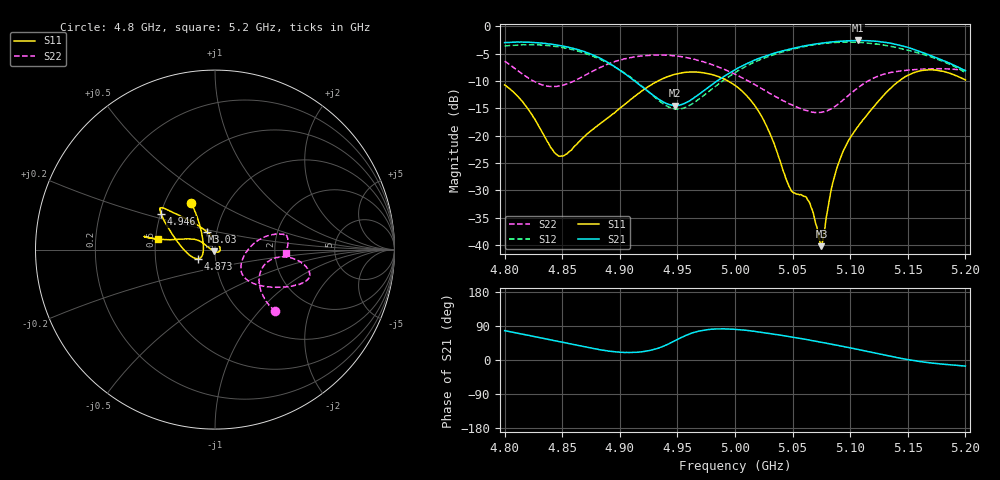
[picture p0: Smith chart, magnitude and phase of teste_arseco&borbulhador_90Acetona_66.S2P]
! Network Analyzer HP8722D
! Hewlett-Packard
! Data name: Linha & Wilkinson
! Saver's name: Rodrigo Anjos
! Comments: Teste da utilização de aquisição
! continua pelo VNA HP8722D
! Time and date: 17/4/2025 11:36
!  Frequency  S11  S21  S12  S22
# HZ  S  MA R 50
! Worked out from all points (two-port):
!   401 points, 4.8 GHz to 5.2 GHz, reference 50 ohm
!   highest |S21| = -2.58 dB at 5.107 GHz (marker M1); lowest = -14.5 dB at 4.948 GHz (marker M2)
!   |S21| within 3 dB of the highest: start of sweep to 4.88 GHz; 5.024 GHz to 5.173 GHz (148.3 MHz wide, 2.91 % of centre)
!   lowest |S11| = -40.2 dB at 5.075 GHz (marker M3), VSWR 1.02, Z = 49.6 - j0.862 ohm
!   |S11| at or under -10 dB: start of sweep to 4.933 GHz; 4.994 GHz to 5.142 GHz (148.5 MHz wide, 2.93 % of centre)
!   |S22| runs from -15.8 to -5.2 dB; largest |S21 - S12| = 1
!   S11 on the Smith chart (normalised r, x): 4.8 GHz: 0.68, +0.38; 4.873 GHz: 0.82, -0.08; 4.946 GHz: 0.50, +0.23; 5.03 GHz: 0.90, +0.18; 5.2 GHz: 0.52, +0.07
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4.8e9  0.2912 117.1  0.7103 77.4  0.6628 -16.0  0.4792 -45.8
4.818e9  0.1895 119.7  0.7166 66.6  0.6794 -24.0  0.3517 -42.4
4.845e9  0.06741 164.0  0.6753 50.0  0.654 -36.9  0.2822 -21.3
4.867e9  0.09324 -150.3  0.5972 36.3  0.58 -48.1  0.344 -7.5
4.873e9  0.1064 -151.6  0.567 32.8  0.5513 -51.3  0.3715 -6.4
4.903e9  0.1879 175.0  0.3776 20.1  0.3806 -63.0  0.5007 -9.5
4.934e9  0.3194 151.1  0.2143 31.8  0.2093 -55.8  0.5462 -15.9
4.946e9  0.3594 146.6  0.189 47.9  0.177 -39.4  0.5392 -18.5
4.948e9  0.3643 145.9  0.1879 51.1  0.1752 -36.2  0.5365 -18.9
4.975e9  0.3727 141.4  0.268 79.6  0.243 -2.4  0.4657 -26.2
5e9  0.2887 137.1  0.4012 80.7  0.3771 3.3  0.3639 -34.7
5.017e9  0.1896 128.4  0.4922 75.5  0.4707 0.3  0.2939 -40.8
5.03e9  0.1063 113.7  0.5511 70.0  0.534 -4.1  0.2438 -43.4
5.048e9  0.03269 46.0  0.6206 61.4  0.6104 -10.9  0.1933 -40.5
5.062e9  0.0272 -24.3  0.6678 54.1  0.6602 -17.6  0.1694 -31.2
5.067e9  0.02102 -43.6  0.6825 51.4  0.6749 -20.3  0.1639 -26.1
5.075e9  0.009721 -116.5  0.7018 46.9  0.6942 -24.8  0.1634 -15.8
5.089e9  0.05266 155.2  0.7266 38.6  0.7145 -33.4  0.1922 2.8
5.107e9  0.1219 152.9  0.7433 27.7  0.7136 -45.0  0.2759 14.0
5.134e9  0.2654 167.9  0.7034 10.5  0.6589 -61.5  0.3755 13.3
5.164e9  0.397 169.6  0.5708 -5.4  0.55 -74.9  0.4072 11.0
5.2e9  0.3229 169.4  0.392 -15.9  0.3773 -84.4  0.3953 -2.6
